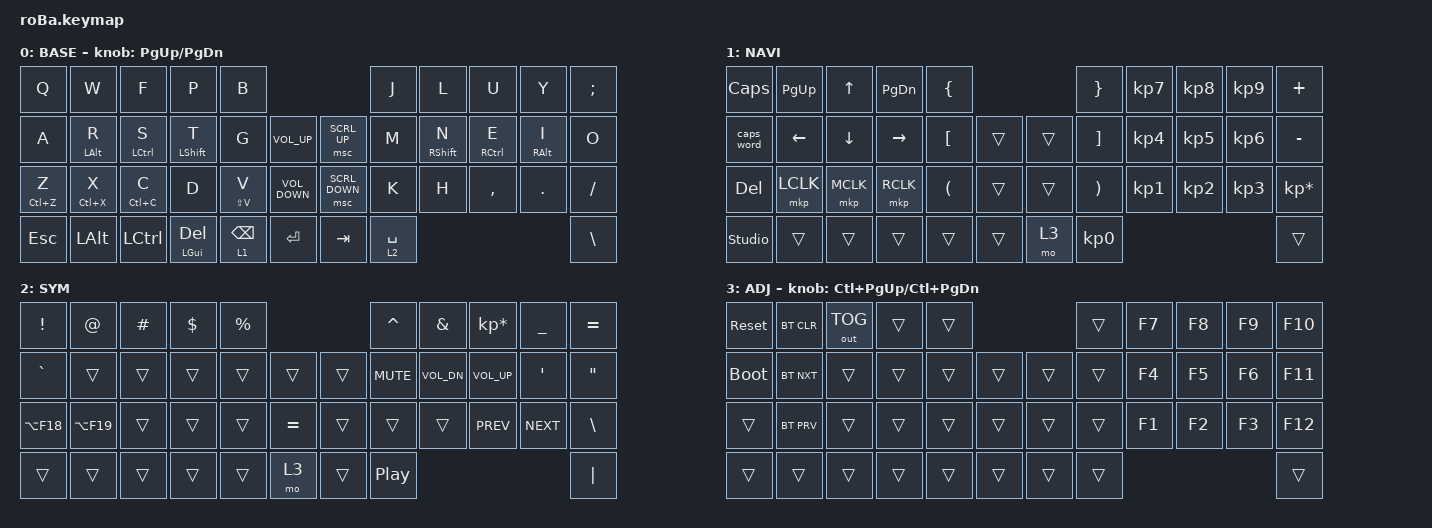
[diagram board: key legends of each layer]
#include <behaviors.dtsi>
#include <dt-bindings/zmk/bt.h>
#include <dt-bindings/zmk/keys.h>
#include <dt-bindings/zmk/outputs.h>
#include <dt-bindings/zmk/pointing.h>

&mt {
    flavor = "balanced";
    quick-tap-ms = <0>;
};

/ {
    combos {
        compatible = "zmk,combos";

        tab {
            bindings = <&kp TAB>;
            key-positions = <11 12>;
        };

        shift_tab {
            bindings = <&kp LS(TAB)>;
            key-positions = <12 13>;
        };

        muhennkann {
            bindings = <&to_layer_0 INT_MUHENKAN>;
            key-positions = <11 10>;
        };

        double_quotation {
            bindings = <&kp DOUBLE_QUOTES>;
            key-positions = <20 21>;
        };

        eq {
            bindings = <&kp EQUAL>;
            key-positions = <24 25>;
        };
    };

    macros {
        to_layer_0: to_layer_0 {
            compatible = "zmk,behavior-macro-one-param";
            #binding-cells = <1>;
            bindings = <&to 0 &macro_param_1to1 &kp MACRO_PLACEHOLDER>;
            label = "TO_LAYER_0";
        };
    };

    behaviors {
        lt_to_layer_0: lt_to_layer_0 {
            compatible = "zmk,behavior-hold-tap";
            label = "LAYER_TAP_TO_0";
            bindings = <&mo>, <&to_layer_0>;

            #binding-cells = <2>;
            tapping-term-ms = <200>;
        };
    };

    keymap {
        compatible = "zmk,keymap";

        BASE {
            bindings = <
&kp Q        &kp W           &kp F        &kp P             &kp B                                                   &kp J        &kp L         &kp U        &kp Y            &kp SEMICOLON
&kp A        &mt LEFT_ALT R  &mt LCTRL S  &mt LEFT_SHIFT T  &kp G            &kp C_VOLUME_UP        &msc SCRL_UP    &kp M        &mt RSHIFT N  &mt RCTRL E  &mt RIGHT_ALT I  &kp O
&mt LC(Z) Z  &mt LC(X) X     &mt LC(C) C  &kp D             &mt LS(V) V      &kp C_VOLUME_DOWN      &msc SCRL_DOWN  &kp K        &kp H         &kp COMMA    &kp DOT          &kp SLASH
&kp ESCAPE   &kp LEFT_ALT    &kp LCTRL    &mt LGUI DEL      &lt 1 BACKSPACE  &kp RET                &kp TAB         &lt 2 SPACE                                              &kp BACKSLASH
            >;

            sensor-bindings = <&inc_dec_kp PG_UP PAGE_DOWN>;
        };

        NAVI {
            bindings = <
&kp CAPS        &kp PAGE_UP  &kp UP     &kp PAGE_DOWN  &kp LEFT_BRACE                      &kp RIGHT_BRACE  &kp KP_NUMBER_7  &kp KP_NUMBER_8  &kp KP_NUMBER_9  &kp PLUS
&caps_word      &kp LEFT     &kp DOWN   &kp RIGHT      &kp LBKT        &trans      &trans  &kp RBKT         &kp KP_NUMBER_4  &kp KP_NUMBER_5  &kp KP_NUMBER_6  &kp MINUS
&kp DELETE      &mkp LCLK    &mkp MCLK  &mkp RCLK      &kp LPAR        &trans      &trans  &kp RPAR         &kp KP_NUMBER_1  &kp KP_NUMBER_2  &kp KP_NUMBER_3  &kp KP_MULTIPLY
&studio_unlock  &trans       &trans     &trans         &trans          &trans      &mo 3   &kp KP_N0                                                           &trans
            >;
        };

        SYM {
            bindings = <
&kp EXCL     &kp AT       &kp HASH  &kp DOLLAR  &kp PERCENT                         &kp CARET         &kp AMPERSAND  &kp KP_ASTERISK  &kp UNDER   &kp EQUAL
&kp GRAVE    &trans       &trans    &trans      &trans       &trans         &trans  &kp C_MUTE        &kp C_VOL_DN   &kp C_VOL_UP     &kp SQT     &kp DQT
&kp LA(F18)  &kp LA(F19)  &trans    &trans      &trans       &kp EQUAL      &trans  &trans            &trans         &kp C_PREV       &kp C_NEXT  &kp BACKSLASH
&trans       &trans       &trans    &trans      &trans       &mo 3          &trans  &kp C_PLAY_PAUSE                                              &kp PIPE
            >;
        };

        ADJ {
            bindings = <
&sys_reset   &bt BT_CLR  &out OUT_TOG  &trans  &trans                      &trans  &kp F7  &kp F8  &kp F9  &kp F10
&bootloader  &bt BT_NXT  &trans        &trans  &trans  &trans      &trans  &trans  &kp F4  &kp F5  &kp F6  &kp F11
&trans       &bt BT_PRV  &trans        &trans  &trans  &trans      &trans  &trans  &kp F1  &kp F2  &kp F3  &kp F12
&trans       &trans      &trans        &trans  &trans  &trans      &trans  &trans                          &trans
            >;

            sensor-bindings = <&inc_dec_kp LC(PAGE_UP) LC(PAGE_DOWN)>;
        };
    };
};
